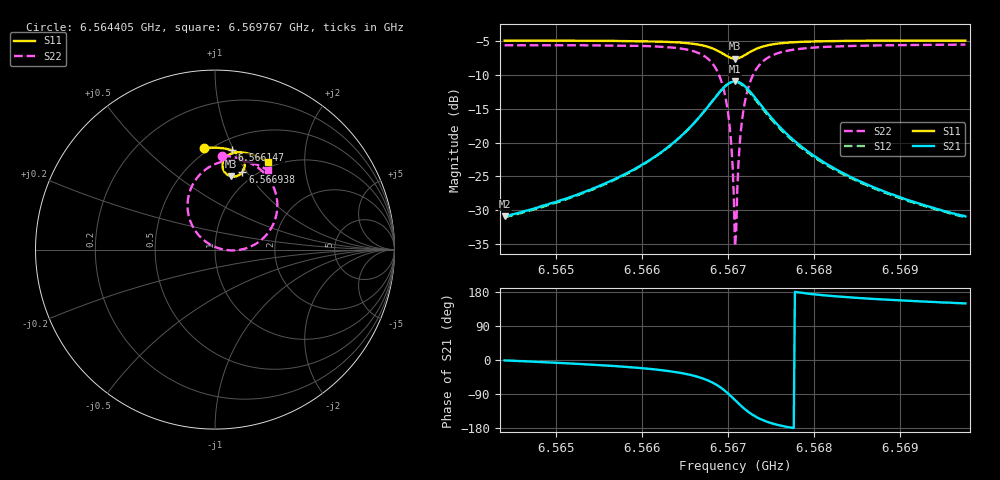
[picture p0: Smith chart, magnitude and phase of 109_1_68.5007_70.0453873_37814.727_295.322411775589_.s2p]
#  HZ  S  RI  R  50.00
! Rohde & Schwarz Vector Network Analyzer
! Rohde-Schwarz,ZNB20-2Port,1311601062101988,3.16
! Created: UTC 3/20/2024, 5:08:37 PM
! freq[Hz]  re:S11  im:S11  re:S21  im:S21  re:S12  im:S12  re:S22  im:S22
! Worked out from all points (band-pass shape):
!   401 points, 6.564405 GHz to 6.569767 GHz, reference 50 ohm
!   highest |S21| = -10.92 dB at 6.567086 GHz (marker M1); lowest = -30.9 dB at 6.564405 GHz (marker M2)
!   |S21| within 3 dB of the highest: 6.566819 GHz to 6.567354 GHz (535.4 kHz wide, 0.00815 % of centre)
!   lowest |S11| = -7.6 dB at 6.567086 GHz (marker M3), VSWR 2.43, Z = 41.5 + j41 ohm
!   |S11| at or under -10 dB: nowhere
!   |S22| runs from -35.3 to -5.5 dB; largest |S21 - S12| = 0.014
!   S11 on the Smith chart (normalised r, x): 6.564405 GHz: 0.47, +0.78; 6.566147 GHz: 0.61, +0.98; 6.566938 GHz: 0.87, +0.95; 6.569767 GHz: 0.91, +1.32
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6.5644049e9  -0.0592 0.566  0.0284 -0.000609  0.0278 -0.0011  0.0407 0.5239
6.565303e9  0.0146 0.5678  0.0417 -0.00804  0.0409 -0.00857  0.1262 0.51
6.5661475e9  0.0939 0.553  0.0711 -0.0327  0.07 -0.0335  0.2376 0.4579
6.5662011e9  0.0996 0.5508  0.0741 -0.0362  0.073 -0.037  0.247 0.4508
6.5667104e9  0.1588 0.4997  0.1093 -0.1239  0.1068 -0.1264  0.3452 0.2802
6.5668445e9  0.165 0.4638  0.099 -0.1866  0.0941 -0.1901  0.3325 0.1607
6.5669383e9  0.1527 0.4317  0.0606 -0.2414  0.0522 -0.2443  0.263 0.0585
6.5669785e9  0.1404 0.4193  0.0312 -0.2619  0.021 -0.2635  0.209 0.0219
6.5670187e9  0.1236 0.4101  -0.00605 -0.2756  -0.0176 -0.2748  0.1409 -0.000771
6.5670455e9  0.1107 0.407  -0.034 -0.279  -0.0461 -0.2762  0.0905 -0.00462
6.5670723e9  0.097 0.4068  -0.0629 -0.2769  -0.075 -0.2721  0.0392 0.00209
6.5670858e9  0.0901 0.4078  -0.0772 -0.2737  -0.089 -0.2678  0.0143 0.00943
6.5670992e9  0.0834 0.4098  -0.0911 -0.269  -0.1025 -0.262  -0.00969 0.0192
6.5671126e9  0.077 0.4123  -0.1045 -0.263  -0.1152 -0.2551  -0.0326 0.0313
6.5671394e9  0.0654 0.4195  -0.1285 -0.2476  -0.1379 -0.2379  -0.0727 0.0618
6.5671796e9  0.0521 0.4339  -0.1569 -0.2182  -0.1636 -0.2069  -0.1178 0.1172
6.5672332e9  0.043 0.4559  -0.1784 -0.1743  -0.1815 -0.163  -0.1484 0.1964
6.5673002e9  0.043 0.4816  -0.1845 -0.1243  -0.1842 -0.1142  -0.1501 0.2843
6.5675415e9  0.0806 0.5304  -0.1418 -0.0279  -0.1388 -0.0237  -0.0527 0.4461
6.5679838e9  0.1434 0.5423  -0.081 0.00885  -0.0791 0.00996  0.0844 0.4975
6.5688819e9  0.2276 0.5217  -0.0393 0.0151  -0.0384 0.0155  0.2147 0.48
6.5697666e9  0.293 0.4899  -0.0244 0.0145  -0.0238 0.0145  0.2926 0.4442
